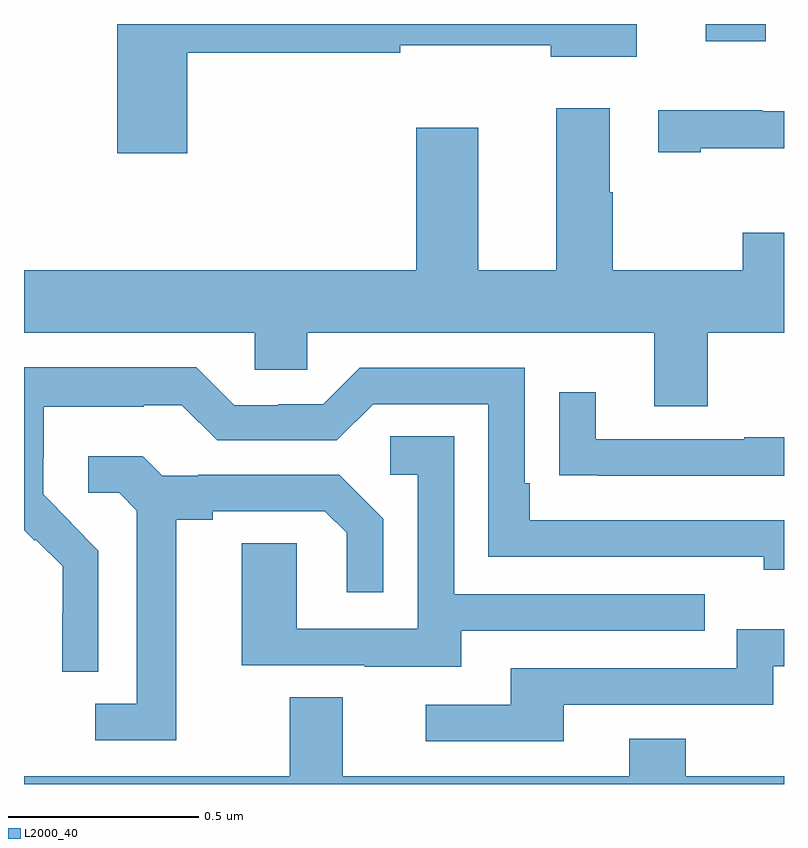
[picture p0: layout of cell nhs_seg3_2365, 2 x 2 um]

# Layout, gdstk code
import gdstk
lib = gdstk.Library(unit=1e-6, precision=1e-09)
def R(c, l, rs):  # rectangles x0, y0, x1, y1
    for r in rs: c.add(gdstk.rectangle(r[:2], r[2:], *l))
def P(c, l, *ps):  # polygons
    for p in ps: c.add(gdstk.Polygon(p, *l))
L2000_40 = (2000, 40)

nhs_seg3_2365 = lib.new_cell('nhs_seg3_2365')
R(nhs_seg3_2365, L2000_40, [(141.794,696.354,141.952,696.4)])
P(nhs_seg3_2365, L2000_40, [(140.429,696.325),(140.99,696.325),(140.99,696.344),(141.386,696.344),(141.386,696.314),(141.613,696.314),(141.613,696.4),(140.246,696.4),(140.246,696.06),(140.429,696.06)],
  [(141.799,695.588),(142,695.588),(142,695.851),(141.892,695.851),(141.892,695.752),(141.549,695.752),(141.549,695.957),(141.541,695.957),(141.541,696.178),(141.401,696.178),(141.401,695.752),(141.196,695.752),(141.196,696.127),(141.032,696.127),(141.032,695.752),(140,695.752),(140,695.588),(140.607,695.588),(140.607,695.49),(140.745,695.49),(140.745,695.588),(141.659,695.588),(141.659,695.394),(141.799,695.394)],
  [(141.781,696.073),(142,696.073),(142,696.171),(141.944,696.171),(141.944,696.173),(141.669,696.173),(141.669,696.063),(141.781,696.063)],
  [(140.196,695.014),(140.123,695.087),(140.124,695.088),(140.05,695.162),(140.05,695.259),(140.052,695.259),(140.052,695.393),(140.315,695.393),(140.315,695.397),(140.415,695.397),(140.508,695.304),(140.823,695.304),(140.919,695.4),(141.222,695.4),(141.222,694.998),(141.947,694.998),(141.947,694.964),(142,694.964),(142,695.094),(141.331,695.094),(141.331,695.191),(141.318,695.191),(141.318,695.496),(140.883,695.496),(140.787,695.4),(140.669,695.4),(140.669,695.397),(140.553,695.397),(140.453,695.497),(140,695.497),(140,695.068),(140.028,695.04),(140.031,695.043),(140.102,694.973),(140.102,694.85),(140.1,694.85),(140.1,694.696),(140.196,694.696)],
  [(142,695.312),(141.895,695.312),(141.895,695.307),(141.505,695.307),(141.505,695.431),(141.409,695.431),(141.409,695.212),(141.511,695.212),(141.511,695.211),(142,695.211)],
  [(141.151,694.803),(141.791,694.803),(141.791,694.899),(141.132,694.899),(141.132,695.315),(140.964,695.315),(140.964,695.214),(141.036,695.214),(141.036,694.809),(140.718,694.809),(140.718,695.033),(140.573,695.033),(140.573,694.713),(140.897,694.713),(140.897,694.709),(141.151,694.709)],
  [(140.401,695.096),(140.497,695.096),(140.497,695.118),(140.792,695.118),(140.849,695.061),(140.849,694.905),(140.946,694.905),(140.946,695.098),(140.83,695.214),(140.458,695.214),(140.458,695.211),(140.364,695.211),(140.312,695.263),(140.169,695.263),(140.169,695.166),(140.25,695.166),(140.297,695.119),(140.297,694.611),(140.187,694.611),(140.187,694.515),(140.401,694.515)],
  [(141.421,694.608),(141.972,694.608),(141.972,694.71),(142,694.71),(142,694.807),(141.876,694.807),(141.876,694.704),(141.281,694.704),(141.281,694.608),(141.057,694.608),(141.057,694.512),(141.421,694.512)],
  [(142,694.42),(141.741,694.42),(141.741,694.519),(141.593,694.519),(141.593,694.42),(140.839,694.42),(140.839,694.628),(140.699,694.628),(140.699,694.42),(140,694.42),(140,694.4),(142,694.4)])

lib.write_gds('nhs_seg3_2365.gds')
